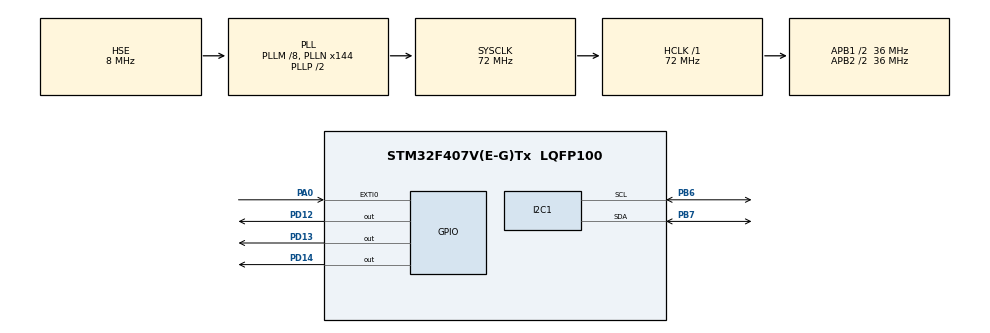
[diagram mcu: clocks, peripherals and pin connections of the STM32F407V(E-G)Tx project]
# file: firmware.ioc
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Mcu.Family=STM32F4
Mcu.Name=STM32F407V(E-G)Tx
Mcu.Package=LQFP100
NVIC.EXTI0_IRQn=true\:0\:0\:false\:false\:true\:true\:true\:true
NVIC.PriorityGroup=NVIC_PRIORITYGROUP_0
NVIC.TIM2_IRQn=true\:0\:0\:false\:false\:true\:true\:true\:true
NVIC.TIM6_DAC_IRQn=true\:0\:0\:false\:false\:true\:true\:true\:true
PA0-WKUP.Signal=GPXTI0
PB6.Mode=I2C
PB6.Signal=I2C1_SCL
PB7.Mode=I2C
PB7.Signal=I2C1_SDA
PD12.Signal=GPIO_Output
PD13.Signal=GPIO_Output
PD14.Signal=GPIO_Output
PH0-OSC_IN.Mode=HSE-External-Oscillator
PH0-OSC_IN.Signal=RCC_OSC_IN
PH1-OSC_OUT.Mode=HSE-External-Oscillator
PH1-OSC_OUT.Signal=RCC_OSC_OUT
ProjectManager.HeapSize=0x200
ProjectManager.StackSize=0x400
ProjectManager.TargetToolchain=STM32CubeIDE
RCC.48MHZClocksFreq_Value=20571428.57142857
RCC.AHBFreq_Value=72000000
RCC.APB1CLKDivider=RCC_HCLK_DIV2
RCC.APB1Freq_Value=36000000
RCC.APB1TimFreq_Value=72000000
RCC.APB2CLKDivider=RCC_HCLK_DIV2
RCC.APB2Freq_Value=36000000
RCC.APB2TimFreq_Value=72000000
RCC.CortexFreq_Value=72000000
RCC.HCLKFreq_Value=72000000
RCC.HSE_VALUE=8000000
RCC.HSI_VALUE=16000000
RCC.LSE_VALUE=32768
RCC.PLLM=8
RCC.PLLN=144
RCC.PLLQ=7
RCC.PLLSourceVirtual=RCC_PLLSOURCE_HSE
RCC.SYSCLKFreq_VALUE=72000000
RCC.SYSCLKSource=RCC_SYSCLKSOURCE_PLLCLK
RCC.VCOOutputFreq_Value=144000000
TIM2.Period=1999
TIM2.Prescaler=35999
TIM2.TIM_MasterOutputTrigger=TIM_TRGO_UPDATE
TIM6.Period=1999
TIM6.Prescaler=35999
TIM6.TIM_MasterOutputTrigger=TIM_TRGO_UPDATE
VP_RTC_VS_RTC_Activate.Mode=RTC_Enabled
VP_RTC_VS_RTC_Calendar.Mode=RTC_Calendar
VP_TIM2_VS_ClockSourceINT.Mode=Internal
VP_TIM6_VS_ClockSourceINT.Mode=Enable_Timer
board=STM32F407G-DISC1

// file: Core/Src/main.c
/* USER CODE BEGIN Header */
/**
  ******************************************************************************
  * @file           : main.c
  * @brief          : Main program body
  ******************************************************************************
  * @attention
  *
  * Copyright (c) 2024 STMicroelectronics.
  * All rights reserved.
  *
  * This software is licensed under terms that can be found in the LICENSE file
  * in the root directory of this software component.
  * If no LICENSE file comes with this software, it is provided AS-IS.
  *
  ******************************************************************************
  */
/* USER CODE END Header */
#include "main.h"

/* USER CODE BEGIN Includes */
#include<stdio.h>
#include"lcd16x2_i2c.h"
#include<string.h>
#include<math.h>
/* USER CODE END Includes */

/* USER CODE BEGIN PM */
#define BV(n) (1<<(n))

#define LIS3DSH_OUT_X_L		0x28
#define LIS3DSH_OUT_X_H		0x29
#define LIS3DSH_OUT_Y_L		0x2A
#define LIS3DSH_OUT_Y_H		0x2B
#define LIS3DSH_OUT_Z_L		0x2C
#define LIS3DSH_OUT_Z_H		0x2D

#define LIS3DSH_STATUS		0x27
#define LIS3DSH_CTRL_REG4	0x20

#define LIS3DSH_STATUS_XDA		BV(0)
#define LIS3DSH_STATUS_YDA		BV(1)
#define LIS3DSH_STATUS_ZDA		BV(2)
#define LIS3DSH_STATUS_XYZDA	BV(3)
#define LIS3DSH_STATUS_XYZDA_Msk	(LIS3DSH_STATUS_XDA|LIS3DSH_STATUS_YDA|LIS3DSH_STATUS_ZDA)

#define LIS3DSH_CR4_XEN			BV(0)
#define LIS3DSH_CR4_YEN			BV(1)
#define LIS3DSH_CR4_ZEN			BV(2)
#define LIS3DSH_CR4_ODR_OFF		(0x0 << 4)
#define LIS3DSH_CR4_ODR_25HZ	(0x4 << 4)

/* USER CODE END PM */

I2C_HandleTypeDef hi2c1;

RTC_HandleTypeDef hrtc;

TIM_HandleTypeDef htim2;
TIM_HandleTypeDef htim6;

/* USER CODE BEGIN PV */
uint8_t flag=0;

/* USER CODE END PV */

void SystemClock_Config(void);
static void MX_GPIO_Init(void);
static void MX_I2C1_Init(void);
static void MX_RTC_Init(void);
static void MX_TIM2_Init(void);
static void MX_TIM6_Init(void);

/* USER CODE BEGIN 0 */

//HAL_TIM_Base_Start_IT(&htim2);

/* USER CODE END 0 */

int main(void)
{
  /* USER CODE BEGIN 1 */

		char str[64];
		int count;

  /* USER CODE END 1 */

  /* MCU Configuration--------------------------------------------------------*/

  /* Reset of all peripherals, Initializes the Flash interface and the Systick. */
  HAL_Init();

  /* Configure the system clock */
  SystemClock_Config();

  /* Initialize all configured peripherals */
  MX_GPIO_Init();
  MX_I2C1_Init();
  MX_RTC_Init();
  MX_TIM2_Init();
  MX_TIM6_Init();
  /* USER CODE BEGIN 2 */
  HAL_TIM_Base_Start_IT(&htim2);

 // if(HAL_CAN_Start(&hcan1) != HAL_OK)
 	//  Error_Handler();

   //if(HAL_CAN_ActivateNotification(&hcan1, CAN_IT_RX_FIFO0_MSG_PENDING) != HAL_OK)
 	 // Error_Handler();

  // if(HAL_CAN_AddTxMessage(&hcan1, &TxHeader, TxData, &TxMailBoxNum) != HAL_OK)
 	//  Error_Handler();

  // if(HAL_CAN_AddTxMessage(&hcan1, &TxHeader, TxData, &TxMailBoxNum) != HAL_OK)
 	//  Error_Handler();

  /* USER CODE END 2 */

  /* Infinite loop */
  while (1)
  {

    /* USER CODE BEGIN 3 */

	  if(flag==1)
	  {
		  if(lcd16x2_i2c_init(&hi2c1));
		  RTC_TimeTypeDef time;
		  RTC_DateTypeDef date;
		  char str[32];
		  int cnt;
		  HAL_RTC_GetTime(&hrtc, &time, RTC_FORMAT_BIN);
		  HAL_RTC_GetDate(&hrtc, &date, RTC_FORMAT_BIN);
		  cnt = sprintf(str, "%d",
				  date.Date);
		  lcd16x2_i2c_setCursor(0, 0);
		  lcd16x2_i2c_printf(str);
		  cnt = sprintf(str, "%d",
		 				  date.Month);
		 		  lcd16x2_i2c_setCursor(0, 5);
		 		  lcd16x2_i2c_printf(str);
		 	cnt = sprintf(str, "%d",
		 						  date.Year);
		 				  lcd16x2_i2c_setCursor(0, 11);
		 				  lcd16x2_i2c_printf(str);
		  cnt = sprintf(str, "%d",
						  time.Hours);
				  lcd16x2_i2c_setCursor(1, 0);
				  lcd16x2_i2c_printf(str);
			cnt = sprintf(str, "%d",time.Minutes);
								  lcd16x2_i2c_setCursor(1, 5);
								  lcd16x2_i2c_printf(str);
		cnt = sprintf(str, "%d", time.Seconds);
				lcd16x2_i2c_setCursor(1, 11);
			   lcd16x2_i2c_printf(str);

	  }
  }
  /* USER CODE END 3 */
}

void SystemClock_Config(void)
{
  RCC_OscInitTypeDef RCC_OscInitStruct = {0};
  RCC_ClkInitTypeDef RCC_ClkInitStruct = {0};

  /** Configure the main internal regulator output voltage
  */
  __HAL_RCC_PWR_CLK_ENABLE();
  __HAL_PWR_VOLTAGESCALING_CONFIG(PWR_REGULATOR_VOLTAGE_SCALE1);

  /** Initializes the RCC Oscillators according to the specified parameters
  * in the RCC_OscInitTypeDef structure.
  */
  RCC_OscInitStruct.OscillatorType = RCC_OSCILLATORTYPE_LSI|RCC_OSCILLATORTYPE_HSE;
  RCC_OscInitStruct.HSEState = RCC_HSE_ON;
  RCC_OscInitStruct.LSIState = RCC_LSI_ON;
  RCC_OscInitStruct.PLL.PLLState = RCC_PLL_ON;
  RCC_OscInitStruct.PLL.PLLSource = RCC_PLLSOURCE_HSE;
  RCC_OscInitStruct.PLL.PLLM = 8;
  RCC_OscInitStruct.PLL.PLLN = 144;
  RCC_OscInitStruct.PLL.PLLP = RCC_PLLP_DIV2;
  RCC_OscInitStruct.PLL.PLLQ = 7;
  if (HAL_RCC_OscConfig(&RCC_OscInitStruct) != HAL_OK)
  {
    Error_Handler();
  }

  /** Initializes the CPU, AHB and APB buses clocks
  */
  RCC_ClkInitStruct.ClockType = RCC_CLOCKTYPE_HCLK|RCC_CLOCKTYPE_SYSCLK
                              |RCC_CLOCKTYPE_PCLK1|RCC_CLOCKTYPE_PCLK2;
  RCC_ClkInitStruct.SYSCLKSource = RCC_SYSCLKSOURCE_PLLCLK;
  RCC_ClkInitStruct.AHBCLKDivider = RCC_SYSCLK_DIV1;
  RCC_ClkInitStruct.APB1CLKDivider = RCC_HCLK_DIV2;
  RCC_ClkInitStruct.APB2CLKDivider = RCC_HCLK_DIV2;

  if (HAL_RCC_ClockConfig(&RCC_ClkInitStruct, FLASH_LATENCY_2) != HAL_OK)
  {
    Error_Handler();
  }
}

static void MX_I2C1_Init(void)
{

  hi2c1.Instance = I2C1;
  hi2c1.Init.ClockSpeed = 100000;
  hi2c1.Init.DutyCycle = I2C_DUTYCYCLE_2;
  hi2c1.Init.OwnAddress1 = 0;
  hi2c1.Init.AddressingMode = I2C_ADDRESSINGMODE_7BIT;
  hi2c1.Init.DualAddressMode = I2C_DUALADDRESS_DISABLE;
  hi2c1.Init.OwnAddress2 = 0;
  hi2c1.Init.GeneralCallMode = I2C_GENERALCALL_DISABLE;
  hi2c1.Init.NoStretchMode = I2C_NOSTRETCH_DISABLE;
  if (HAL_I2C_Init(&hi2c1) != HAL_OK)
  {
    Error_Handler();
  }

}

static void MX_RTC_Init(void)
{

  RTC_TimeTypeDef sTime = {0};
  RTC_DateTypeDef sDate = {0};

  /** Initialize RTC Only
  */
  hrtc.Instance = RTC;
  hrtc.Init.HourFormat = RTC_HOURFORMAT_24;
  hrtc.Init.AsynchPrediv = 127;
  hrtc.Init.SynchPrediv = 255;
  hrtc.Init.OutPut = RTC_OUTPUT_DISABLE;
  hrtc.Init.OutPutPolarity = RTC_OUTPUT_POLARITY_HIGH;
  hrtc.Init.OutPutType = RTC_OUTPUT_TYPE_OPENDRAIN;
  if (HAL_RTC_Init(&hrtc) != HAL_OK)
  {
    Error_Handler();
  }

  /** Initialize RTC and set the Time and Date
  */
  sTime.Hours = 0x0;
  sTime.Minutes = 0x0;
  sTime.Seconds = 0x0;
  sTime.DayLightSaving = RTC_DAYLIGHTSAVING_NONE;
  sTime.StoreOperation = RTC_STOREOPERATION_RESET;
  if (HAL_RTC_SetTime(&hrtc, &sTime, RTC_FORMAT_BCD) != HAL_OK)
  {
    Error_Handler();
  }
  sDate.WeekDay = RTC_WEEKDAY_MONDAY;
  sDate.Month = RTC_MONTH_JANUARY;
  sDate.Date = 0x1;
  sDate.Year = 0x0;

  if (HAL_RTC_SetDate(&hrtc, &sDate, RTC_FORMAT_BCD) != HAL_OK)
  {
    Error_Handler();
  }

}

static void MX_TIM2_Init(void)
{

  TIM_ClockConfigTypeDef sClockSourceConfig = {0};
  TIM_MasterConfigTypeDef sMasterConfig = {0};

  htim2.Instance = TIM2;
  htim2.Init.Prescaler = 35999;
  htim2.Init.CounterMode = TIM_COUNTERMODE_UP;
  htim2.Init.Period = 1999;
  htim2.Init.ClockDivision = TIM_CLOCKDIVISION_DIV1;
  htim2.Init.AutoReloadPreload = TIM_AUTORELOAD_PRELOAD_DISABLE;
  if (HAL_TIM_Base_Init(&htim2) != HAL_OK)
  {
    Error_Handler();
  }
  sClockSourceConfig.ClockSource = TIM_CLOCKSOURCE_INTERNAL;
  if (HAL_TIM_ConfigClockSource(&htim2, &sClockSourceConfig) != HAL_OK)
  {
    Error_Handler();
  }
  sMasterConfig.MasterOutputTrigger = TIM_TRGO_UPDATE;
  sMasterConfig.MasterSlaveMode = TIM_MASTERSLAVEMODE_DISABLE;
  if (HAL_TIMEx_MasterConfigSynchronization(&htim2, &sMasterConfig) != HAL_OK)
  {
    Error_Handler();
  }

}

static void MX_TIM6_Init(void)
{

  TIM_MasterConfigTypeDef sMasterConfig = {0};

  htim6.Instance = TIM6;
  htim6.Init.Prescaler = 35999;
  htim6.Init.CounterMode = TIM_COUNTERMODE_UP;
  htim6.Init.Period = 1999;
  htim6.Init.AutoReloadPreload = TIM_AUTORELOAD_PRELOAD_DISABLE;
  if (HAL_TIM_Base_Init(&htim6) != HAL_OK)
  {
    Error_Handler();
  }
  sMasterConfig.MasterOutputTrigger = TIM_TRGO_UPDATE;
  sMasterConfig.MasterSlaveMode = TIM_MASTERSLAVEMODE_DISABLE;
  if (HAL_TIMEx_MasterConfigSynchronization(&htim6, &sMasterConfig) != HAL_OK)
  {
    Error_Handler();
  }

}

static void MX_GPIO_Init(void)
{
  GPIO_InitTypeDef GPIO_InitStruct = {0};

  /* GPIO Ports Clock Enable */
  __HAL_RCC_GPIOH_CLK_ENABLE();
  __HAL_RCC_GPIOA_CLK_ENABLE();
  __HAL_RCC_GPIOD_CLK_ENABLE();
  __HAL_RCC_GPIOB_CLK_ENABLE();

  /*Configure GPIO pin Output Level */
  HAL_GPIO_WritePin(GPIOD, GPIO_PIN_12|GPIO_PIN_13|GPIO_PIN_14, GPIO_PIN_RESET);

  /*Configure GPIO pin : PA0 */
  GPIO_InitStruct.Pin = GPIO_PIN_0;
  GPIO_InitStruct.Mode = GPIO_MODE_IT_RISING;
  GPIO_InitStruct.Pull = GPIO_NOPULL;
  HAL_GPIO_Init(GPIOA, &GPIO_InitStruct);

  /*Configure GPIO pins : PD12 PD13 PD14 */
  GPIO_InitStruct.Pin = GPIO_PIN_12|GPIO_PIN_13|GPIO_PIN_14;
  GPIO_InitStruct.Mode = GPIO_MODE_OUTPUT_PP;
  GPIO_InitStruct.Pull = GPIO_NOPULL;
  GPIO_InitStruct.Speed = GPIO_SPEED_FREQ_LOW;
  HAL_GPIO_Init(GPIOD, &GPIO_InitStruct);

  /* EXTI interrupt init*/
  HAL_NVIC_SetPriority(EXTI0_IRQn, 0, 0);
  HAL_NVIC_EnableIRQ(EXTI0_IRQn);

}

/* USER CODE BEGIN 4 */
char str[32];

void HAL_GPIO_EXTI_Callback(uint16_t GPIO_Pin)
{
  flag = 1;
}
/* USER CODE END 4 */

void Error_Handler(void)
{
  __disable_irq();
  while (1)
  {
  }
}
